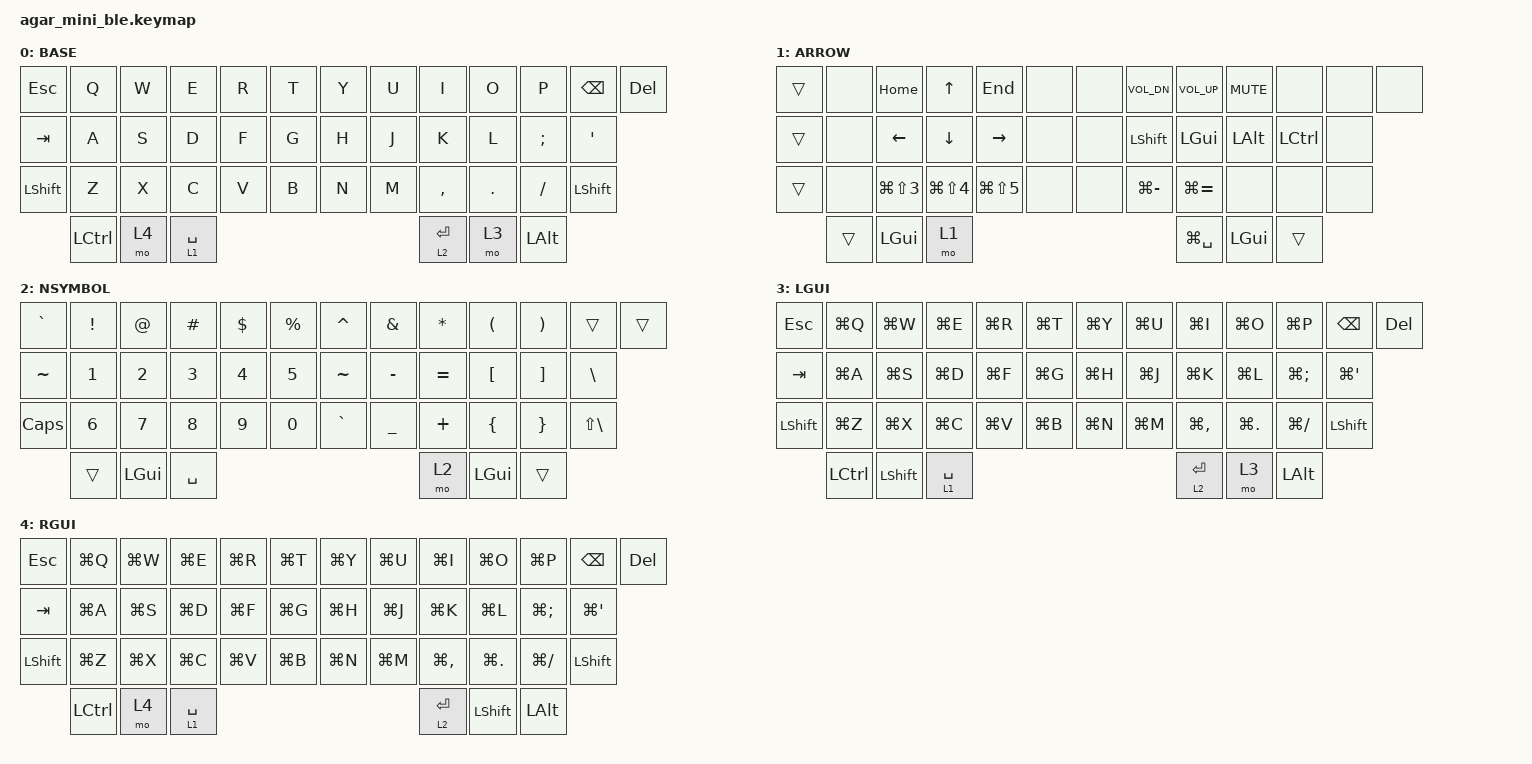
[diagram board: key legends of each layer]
/*
 * Copyright (c) 2021 The ZMK Contributors
 *
 * SPDX-License-Identifier: MIT
 */

#include "./boards/shields/klink_kbd/common.keymap"
#include <behaviors.dtsi>
#include <dt-bindings/zmk/keys.h>
#include <dt-bindings/zmk/pointing.h>

&mt {
    flavor = "tap-preferred"; // change hold to tap
    tapping-term-ms = <20
0>; // 連続タップ
    quick-tap-ms = <150>;
};

&lt {
    flavor = "tap-preferred";
    tapping-term-ms = <200>;
    quick-tap-ms = <150>;
};

/ { 
    combos {
        compatible = "zmk,combos";

        bootloader {
            bindings = <&bootloader>;
            key-positions = <0 36>;
            layers = <1 2>;
        };

        BT_0 {
            bindings = <&bt BT_SEL 0>;
            key-positions = <13 36>;
            layers = <1 2>;
        };

        BT_1 {
            bindings = <&bt BT_SEL 1>;
            key-positions = <25 36>;
            layers = <1 2>;
        };
    };

    keymap {
        compatible = "zmk,keymap";

        default_layer {
            display-name = "BASE";
            bindings = <
&kp ESCAPE  &kp Q      &kp W     &kp E  &kp R        &kp T  &kp Y      &kp U  &kp I      &kp O           &kp P                &kp BSPC           &kp DEL
&kp TAB     &kp A      &kp S     &kp D  &kp F        &kp G  &kp H      &kp J  &kp K      &kp L           &kp SEMI             &kp SQT
&kp LSHIFT  &kp Z      &kp X     &kp C  &kp V        &kp B  &kp N      &kp M  &kp COMMA  &kp DOT         &kp SLASH            &kp LSHIFT
           &kp LCTRL   &mo 4         &lt 1 SPACE         &lt 2 ENTER                  &mo 3        &kp LALT
            >;
        };

        layer1 {
            display-name = "ARROW";
            bindings = <
&trans      &none           &kp HOME        &kp UP          &kp END          &none     &none     &kp C_VOL_DN     &kp C_VOL_UP   &kp C_MUTE  &none      &none    &none
&trans      &none           &kp LEFT        &kp DOWN        &kp RIGHT        &none     &none     &kp LSHFT        &kp LGUI       &kp LALT    &kp LCTRL  &none
&trans      &none           &kp LG(LS(N3))  &kp LG(LS(N4))  &kp LG(LS(N5))   &none     &none     &kp LG(MINUS)    &kp LG(EQUAL)  &none       &none      &none
            &trans          &kp LGUI          &mo 1                 &kp LG(SPACE)            &kp LGUI         &trans
            >;
        };

        layer2 {
            display-name = "NSYMBOL";
            bindings = <
&kp GRAVE     &kp EXCL         &kp AT          &kp HASH      &kp DLLR       &kp PRCNT    &kp CARET    &kp AMPS         &kp STAR    &kp LPAR    &kp RPAR    &trans    &trans
&kp TILDE     &kp N1           &kp N2          &kp N3        &kp N4         &kp N5       &kp TILDE    &kp MINUS        &kp EQUAL   &kp LBKT    &kp RBKT    &kp BACKSLASH
&kp CAPSLOCK  &kp N6           &kp N7          &kp N8        &kp N9         &kp N0       &kp GRAVE    &kp UNDERSCORE   &kp PLUS    &kp LBRC    &kp RBRC    &kp LS(BACKSLASH)
              &trans           &kp LGUI                    &kp SPACE          &mo 2                     &kp LGUI           &trans
            >;
        };

        layer3 {
            display-name = "LGUI";
            bindings = <
&kp ESCAPE &kp LG(Q)      &kp LG(W)     &kp LG(E)  &kp LG(R)        &kp LG(T)  &kp LG(Y)      &kp LG(U)  &kp LG(I)      &kp LG(O)           &kp LG(P)                &kp BSPC           &kp DEL
&kp TAB     &kp LG(A)     &kp LG(S)     &kp LG(D)  &kp LG(F)        &kp LG(G)  &kp LG(H)      &kp LG(J)  &kp LG(K)      &kp LG(L)           &kp LG(SEMI)             &kp LG(SQT)
&kp LSHIFT  &kp LG(Z)     &kp LG(X)     &kp LG(C)  &kp LG(V)        &kp LG(B)  &kp LG(N)      &kp LG(M)  &kp LG(COMMA)  &kp LG(DOT)         &kp LG(SLASH)            &kp LSHIFT
           &kp LCTRL     &kp LSHIFT         &lt 1 SPACE         &lt 2 ENTER                 &mo 3        &kp LALT
            >;
        };

        layer4 {
            display-name = "RGUI";
            bindings = <
&kp ESCAPE &kp LG(Q)      &kp LG(W)     &kp LG(E)  &kp LG(R)        &kp LG(T)  &kp LG(Y)      &kp LG(U)  &kp LG(I)      &kp LG(O)           &kp LG(P)                &kp BSPC           &kp DEL
&kp TAB     &kp LG(A)     &kp LG(S)     &kp LG(D)  &kp LG(F)        &kp LG(G)  &kp LG(H)      &kp LG(J)  &kp LG(K)      &kp LG(L)           &kp LG(SEMI)             &kp LG(SQT)
&kp LSHIFT  &kp LG(Z)     &kp LG(X)     &kp LG(C)  &kp LG(V)        &kp LG(B)  &kp LG(N)      &kp LG(M)  &kp LG(COMMA)  &kp LG(DOT)         &kp LG(SLASH)            &kp LSHIFT
            &kp LCTRL     &mo 4         &lt 1 SPACE         &lt 2 ENTER                 &kp LSHIFT        &kp LALT
            >;
        };
    };
};
